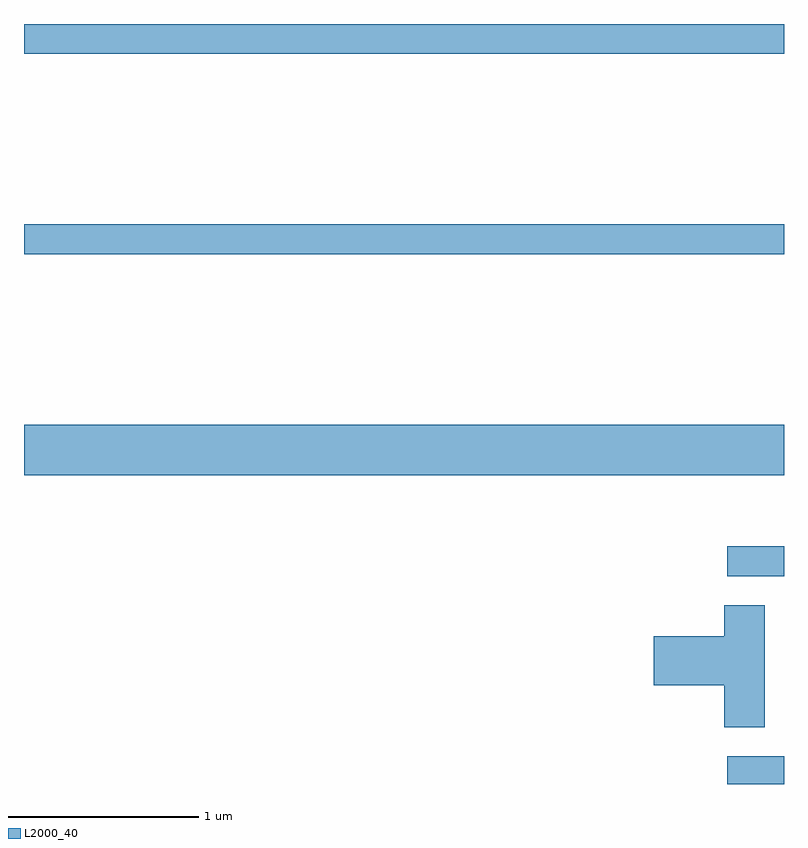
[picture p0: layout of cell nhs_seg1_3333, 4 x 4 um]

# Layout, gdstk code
import gdstk
lib = gdstk.Library(unit=1e-6, precision=1e-09)
def R(c, l, rs):  # rectangles x0, y0, x1, y1
    for r in rs: c.add(gdstk.rectangle(r[:2], r[2:], *l))
def P(c, l, *ps):  # polygons
    for p in ps: c.add(gdstk.Polygon(p, *l))
L2000_40 = (2000, 40)

nhs_seg1_3333 = lib.new_cell('nhs_seg1_3333')
R(nhs_seg1_3333, L2000_40, [(289.313,915.712,289.611,915.859), (289.313,916.806,289.611,916.964), (285.611,917.336,289.611,917.604), (285.611,918.501,289.611,918.659), (285.611,919.556,289.611,919.712)])
P(nhs_seg1_3333, L2000_40, [(289.509,916.654),(289.296,916.654),(289.296,916.489),(288.926,916.489),(288.926,916.231),(289.296,916.231),(289.296,916.011),(289.509,916.011)])

lib.write_gds('nhs_seg1_3333.gds')
